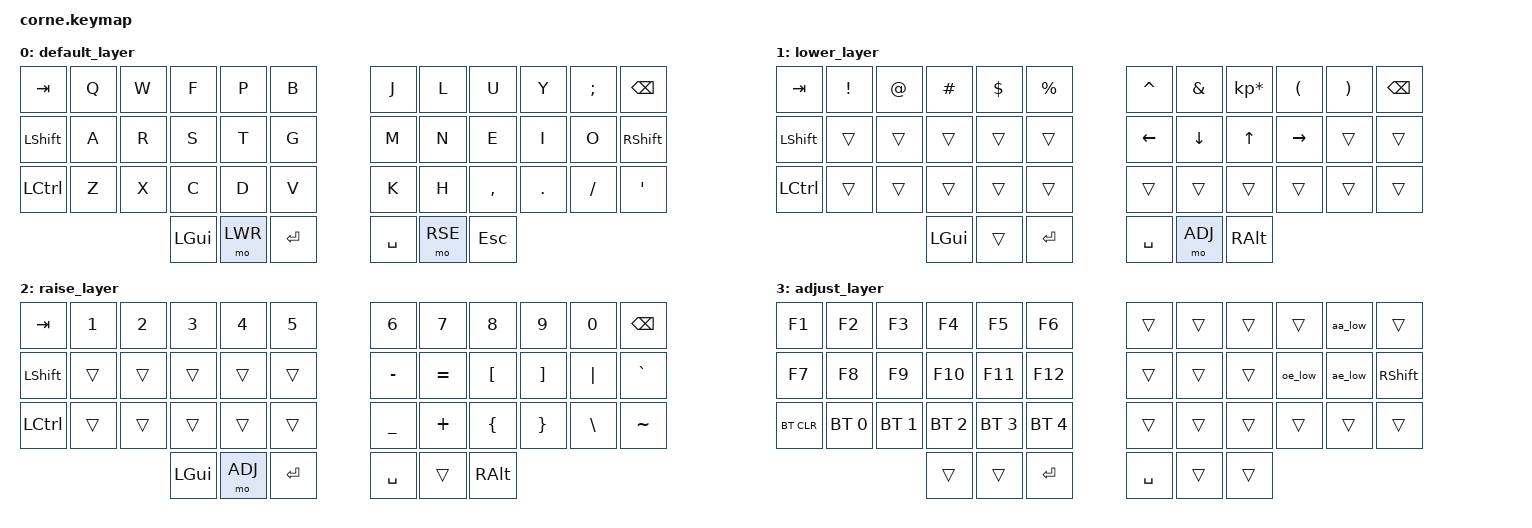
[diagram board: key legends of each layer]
/*
 * Copyright (c) 2020 The ZMK Contributors
 *
 * SPDX-License-Identifier: MIT
 */

#include <behaviors.dtsi>
#include <dt-bindings/zmk/keys.h>
#include <dt-bindings/zmk/bt.h>

#define DEF 0
#define LWR 1
#define RSE 2
#define ADJ 3

/ {
	behaviors {
		/*
		 * This inputs unicode chars for swedish letters 
                 * using IBus on Linux
		 */
                aa_low: aa_low {
			compatible = "zmk,behavior-macro";
			label = "SE_AA_LOW";
			#binding-cells = <0>;
			bindings = <&kp LC(LS(U))>, <&kp N0>, <&kp N0>, <&kp E>, <&kp N5>, <&kp SPACE>;
    		};
		ae_low: ae_low {
			compatible = "zmk,behavior-macro";
			label = "SE_AE_LOW";
			#binding-cells = <0>;
			bindings = <&kp LC(LS(U))>, <&kp N0>, <&kp N0>, <&kp E>, <&kp N4>, <&kp SPACE>;
    		};
                oe_low: oe_low {
			compatible = "zmk,behavior-macro";
			label = "SE_OE_LOW";
			#binding-cells = <0>;
			bindings = <&kp LC(LS(U))>, <&kp N0>, <&kp N0>, <&kp F>, <&kp N6>, <&kp SPACE>;
    		};
    	};

        keymap {
                compatible = "zmk,keymap";

                default_layer {

// Colemak-DH
//  ,-----------------------------------------.             ,-----------------------------------------.
//  | Tab  |   Q  |   W  |   F  |   P  |   B  |             |   J  |   L  |   U  |   Y  |   ;  | Bksp |
//  |------+------+------+------+------+------|             |------+------+------+------+------+------|
//  | Shift|   A  |   R  |   S  |   T  |   G  |             |   M  |   N  |   E  |   I  |   O  | Shift|
//  |------+------+------+------+------+------|             |------+------+------+------+------+------|
//  | Ctrl |   Z  |   X  |   C  |   D  |   V  |             |   K  |   H  |   ,  |   .  |   /  | '    |
//  `------+------+------+------+------+------+------+------+------+------+------+------+------+------'
//                              | GUI  |Lower |Enter |Space |Raise | Esc  |
//                              `-----------------------------------------'
                        bindings = <
   &kp TAB     &kp Q  &kp W  &kp F     &kp P    &kp B        &kp J      &kp L    &kp U      &kp Y    &kp SEMI  &kp BSPC
   &kp LSHIFT  &kp A  &kp R  &kp S     &kp T    &kp G        &kp M      &kp N    &kp E      &kp I    &kp O     &kp RSHIFT
   &kp LCTRL   &kp Z  &kp X  &kp C     &kp D    &kp V        &kp K      &kp H    &kp COMMA  &kp DOT  &kp FSLH  &kp SQT
                             &kp LGUI  &mo LWR  &kp RET      &kp SPACE  &mo RSE  &kp ESC
                        >;
                };
                lower_layer {
// Lower layer
//  ,-----------------------------------------.             ,-----------------------------------------.
//  | Tab  |   !  |   @  |   #  |   $  |   %  |             |   ^  |   &  |   *  |   (  |   )  | Bksp |
//  |------+------+------+------+------+------|             |------+------+------+------+------+------|
//  | Shift|      |      |      |      |      |             | Left | Up   | Down | Right|      | Shift|
//  |------+------+------+------+------+------|             |------+------+------+------+------+------|
//  | Ctrl |      |      |      |      |      |             |      |      |      |      |      |      |
//  `------+------+------+------+------+------+------+------+------+------+------+------+------+------'
//                              | GUI  |      |Enter |Space |Adjust| Esc  |
//                              `-----------------------------------------'
                        bindings = <
   &kp TAB    &kp EXCL  &kp AT  &kp HASH  &kp DLLR  &kp PRCNT    &kp CARET  &kp AMPS  &kp KP_MULTIPLY  &kp LPAR   &kp RPAR  &kp BSPC
   &kp LSHFT  &trans    &trans  &trans    &trans    &trans       &kp LEFT   &kp DOWN  &kp UP           &kp RIGHT  &trans    &trans
   &kp LCTRL  &trans    &trans  &trans    &trans    &trans       &trans     &trans    &trans           &trans     &trans    &trans
                          	&kp LGUI  &trans    &kp RET      &kp SPACE  &mo ADJ   &kp RALT
                        >;
                };

                raise_layer {
// Raise layer
//  ,-----------------------------------------.             ,-----------------------------------------.
//  | Tab  |   1  |   2  |   3  |   4  |   5  |             |   6  |   7  |   8  |   9  |   0  | Bksp |
//  |------+------+------+------+------+------|             |------+------+------+------+------+------|
//  | Shift|      |      |      |      |      |             |   -  |   =  |   [  |   ]  |   |  | `    |
//  |------+------+------+------+------+------|             |------+------+------+------+------+------|
//  | Ctrl |      |      |      |      |      |             |   _  |   +  |   {  |   }  |   \  | ~    |
//  `------+------+------+------+------+------+------+------+------+------+------+------+------+------'
//                              | GUI  |Adjust|Enter |Space |      | Alt  |
//                              `-----------------------------------------'
                        bindings = <
   &kp TAB    &kp N1  &kp N2  &kp N3    &kp N4   &kp N5    &kp N6     &kp N7     &kp N8    &kp N9    &kp N0    &kp BSPC
   &kp LSHFT  &trans  &trans  &trans    &trans   &trans    &kp MINUS  &kp EQUAL  &kp LBKT  &kp RBKT  &kp PIPE  &kp GRAVE
   &kp LCTRL  &trans  &trans  &trans    &trans   &trans    &kp UNDER  &kp PLUS   &kp LBRC  &kp RBRC  &kp BSLH  &kp TILDE
                      	      &kp LGUI  &mo ADJ  &kp RET   &kp SPACE  &trans     &kp RALT
                        >;
                };

                adjust_layer {
// Adjust layer
//  ,-----------------------------------------.             ,-----------------------------------------.
//  |  F1  |  F2  |  F3  |  F4  |  F5  |  F6  |             |      |      |      |      |   Å  |      |
//  |------+------+------+------+------+------|             |------+------+------+------+------+------|
//  |  F7  |  F8  |  F9  |  F10 |  F11 |  F12 |             |      |      |      |   Ö  |   Ä  | Shift|
//  |------+------+------+------+------+------|             |------+------+------+------+------+------|
//  | BTCLR| BT0  | BT1  | BT2  | BT3  | BT4  |             |      |      |      |      |      |      |
//  `------+------+------+------+------+------+------+------+------+------+------+------+------+------'
//                              |      |      |Enter |Space |      |      |
//                              `-----------------------------------------'
                        bindings = <
   &kp F1      &kp F2        &kp F3        &kp F4        &kp F5        &kp F6           &trans     &trans  &trans  &trans   &aa_low  &trans
   &kp F7      &kp F8        &kp F9        &kp F10       &kp F11       &kp F12          &trans     &trans  &trans  &oe_low  &ae_low  &kp RSHIFT
   &bt BT_CLR  &bt BT_SEL 0  &bt BT_SEL 1  &bt BT_SEL 2  &bt BT_SEL 3  &bt BT_SEL 4     &trans     &trans  &trans  &trans   &trans   &trans
                    	                   &trans        &trans        &kp RET          &kp SPACE  &trans  &trans
                        >;
                };
        };
};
